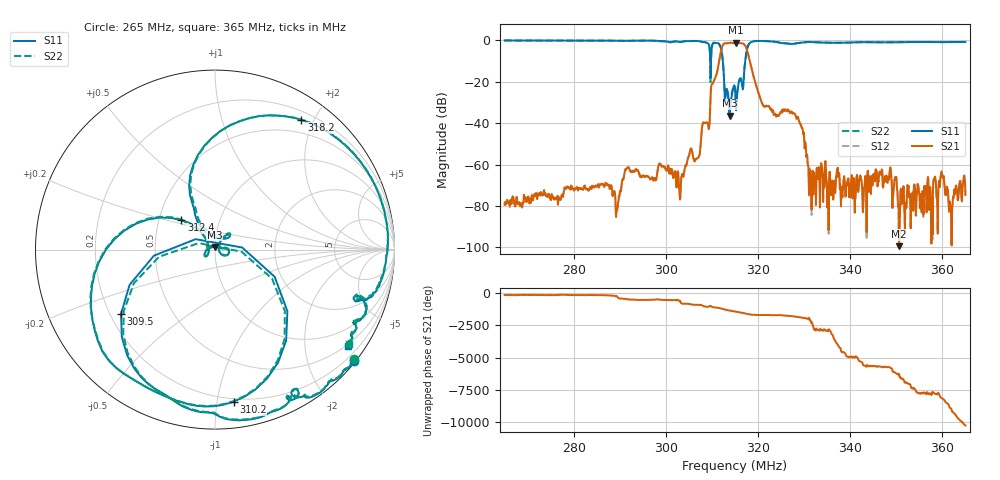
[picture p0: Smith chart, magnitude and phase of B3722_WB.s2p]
! Matrix data file written by TouchstoneData, EPCOS AG
! FILENAME: "B3722_WB.s2p"
! COMMENT: "PCB: 2016; PINNING: 25; PORTEXT1: 82ps; PORT"
! INFO: nport=2, nfreq=1601
! DATE: "Thu Jul  3 11:45:16 2008"
! USER: "Thomas Telgmann"
! port | pin | signal
!  1  |  2  |  in
!  2  |  5  |  out
# MHZ S MA R 50
! freq  magS11 angS11  magS21 angS21  magS12 angS12  magS22 angS22
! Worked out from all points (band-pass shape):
!   1601 points, 265 MHz to 365 MHz, reference 50 ohm
!   highest |S21| = -1.08 dB at 315.2 MHz (marker M1); lowest = -99.4 dB at 350.6 MHz (marker M2)
!   |S21| within 3 dB of the highest: 312.1 MHz to 317.5 MHz (5.445 MHz wide, 1.73 % of centre)
!   lowest |S11| = -36.3 dB at 313.8 MHz (marker M3), VSWR 1.03, Z = 49.9 + j1.53 ohm
!   |S11| at or under -10 dB: 309.6298 MHz to 309.8022 MHz (172.5 kHz wide, 0.0557 % of centre); 312.4 MHz to 317.2 MHz (4.868 MHz wide, 1.55 % of centre)
!   |S22| runs from -33.4 to -0.1 dB; largest |S21 - S12| = 0.002
!   S11 on the Smith chart (normalised r, x): 265 MHz: 0.04, -2.85; 309.5 MHz: 0.24, -0.29; 310.2 MHz: 0.18, -1.11; 312.4 MHz: 0.65, +0.23; 318.2 MHz: 0.31, +1.83; 365 MHz: 0.45, -3.04
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265  0.9921 -38.6  0.0001098 -133.0  0.0001163 -132.0  0.9889 -38.2
281.6875  0.9877 -44.0  0.0002592 -139.4  0.0002584 -137.6  0.9844 -43.6
289.5  0.9753 -48.5  8.628e-05 66.2  9.548e-05 70.1  0.9721 -48.0
291.5625  0.9716 -49.6  0.0008252 -98.3  0.0008181 -98.0  0.969 -49.1
298.375  0.9618 -58.6  0.0009365 -113.2  0.0009202 -112.8  0.9579 -58.2
303.3125  0.9178 -63.3  0.0004391 -44.7  0.0004293 -44.5  0.9142 -62.7
307  0.9602 -82.1  0.001465 178.7  0.001455 179.1  0.9571 -81.7
309.5  0.6343 -145.6  0.01077 89.8  0.01072 89.6  0.6132 -146.0
310.25  0.8541 -83.1  0.09477 3.7  0.09451 4.0  0.849 -82.5
311.5625  0.8084 -145.9  0.3272 -60.9  0.327 -60.7  0.8067 -145.6
312.4375  0.2492 138.9  0.794 -147.5  0.7939 -147.4  0.2509 138.0
313.8125  0.01527 91.1  0.8702 100.6  0.8702 100.6  0.02201 90.5
315  0.06769 -30.1  0.8659 26.0  0.8653 26.1  0.06831 -27.1
315.1875  0.02859 -29.0  0.8827 13.7  0.8821 13.8  0.02838 -23.7
316.625  0.07132 57.0  0.8418 -80.7  0.8418 -80.6  0.08164 60.1
318.25  0.8685 56.4  0.2991 155.2  0.2985 155.1  0.8699 56.3
321.125  0.9633 1.4  0.02649 114.9  0.02634 114.9  0.9622 1.8
328.9375  0.8671 -18.5  0.01093 -56.3  0.01088 -56.0  0.8659 -18.1
331.6875  0.9076 -24.4  0.0003564 -133.2  0.0003485 -131.1  0.9081 -23.9
348.375  0.8944 -32.1  0.0004291 14.5  0.0004258 15.1  0.8951 -31.5
350.625  0.8993 -32.2  1.075e-05 -167.1  1.474e-05 155.8  0.8979 -31.7
365  0.9167 -35.8  0.000186 160.1  0.0001884 165.0  0.9145 -35.1
